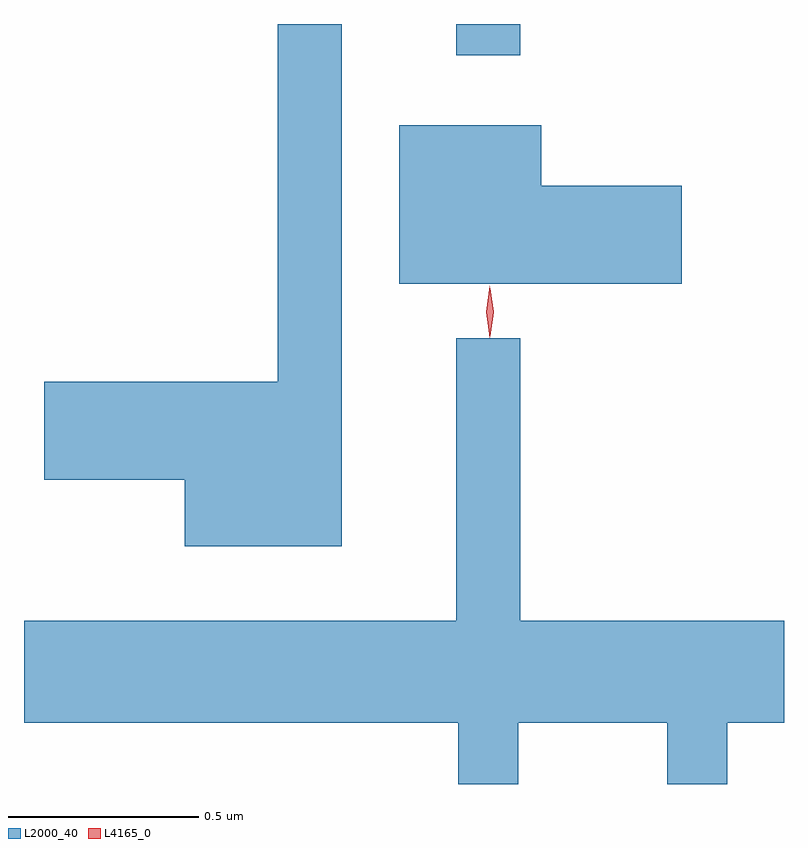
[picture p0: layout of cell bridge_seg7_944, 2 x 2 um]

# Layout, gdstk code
import gdstk
lib = gdstk.Library(unit=1e-6, precision=1e-09)
def R(c, l, rs):  # rectangles x0, y0, x1, y1
    for r in rs: c.add(gdstk.rectangle(r[:2], r[2:], *l))
def P(c, l, *ps):  # polygons
    for p in ps: c.add(gdstk.Polygon(p, *l))
L2000_40 = (2000, 40)
L4165_0 = (4165, 0)

bridge_seg7_944 = lib.new_cell('bridge_seg7_944')
R(bridge_seg7_944, L2000_40, [(467.611,1671.673,467.779,1671.755)])
P(bridge_seg7_944, L2000_40, [(467.309,1671.755),(467.141,1671.755),(467.141,1670.814),(466.526,1670.814),(466.526,1670.556),(466.896,1670.556),(466.896,1670.381),(467.309,1670.381)],
  [(468.204,1671.329),(467.834,1671.329),(467.834,1671.489),(467.461,1671.489),(467.461,1671.071),(468.204,1671.071)],
  [(467.774,1669.916),(468.166,1669.916),(468.166,1669.755),(468.324,1669.755),(468.324,1669.916),(468.473,1669.916),(468.473,1670.184),(467.779,1670.184),(467.779,1670.928),(467.611,1670.928),(467.611,1670.184),(466.473,1670.184),(466.473,1669.916),(467.616,1669.916),(467.616,1669.755),(467.774,1669.755)])
P(bridge_seg7_944, L4165_0, [(467.698,1670.93),(467.689,1670.998),(467.698,1671.065),(467.699,1671.066),(467.699,1671.065),(467.709,1670.998),(467.699,1670.93),(467.699,1670.93)],
  [(467.699,1670.933),(467.699,1670.933),(467.689,1670.996),(467.699,1671.059),(467.699,1671.06),(467.7,1671.059),(467.709,1670.996),(467.7,1670.933)])

lib.write_gds('bridge_seg7_944.gds')
